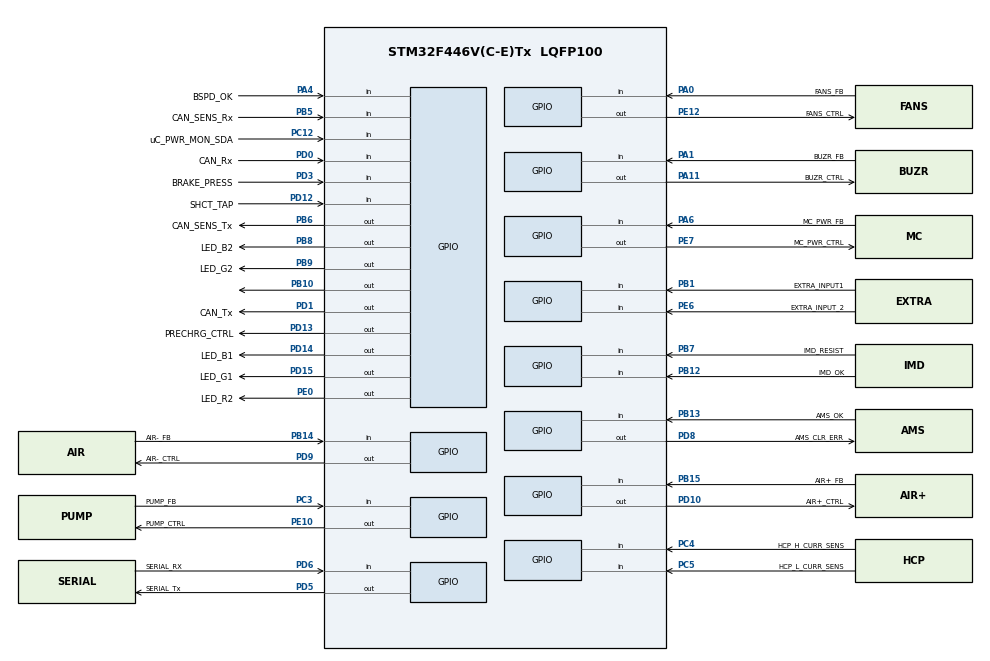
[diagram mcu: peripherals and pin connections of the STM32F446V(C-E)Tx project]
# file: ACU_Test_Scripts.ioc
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Mcu.Family=STM32F4
Mcu.Name=STM32F446V(C-E)Tx
Mcu.Package=LQFP100
NVIC.PriorityGroup=NVIC_PRIORITYGROUP_4
PA0-WKUP.GPIO_Label=FANS_FB
PA0-WKUP.Signal=GPIO_Input
PA1.GPIO_Label=BUZR_FB
PA1.Signal=GPIO_Input
PA11.GPIO_Label=BUZR_CTRL
PA11.Signal=GPIO_Output
PA13.GPIO_Label=UC_SWIDO
PA13.Mode=Serial_Wire
PA13.Signal=SYS_JTMS-SWDIO
PA14.GPIO_Label=UC_SWLCK
PA14.Mode=Serial_Wire
PA14.Signal=SYS_JTCK-SWCLK
PA4.GPIO_Label=BSPD_OK
PA4.Signal=GPIO_Input
PA6.GPIO_Label=MC_PWR_FB
PA6.Signal=GPIO_Input
PB1.GPIO_Label=EXTRA_INPUT1
PB1.Signal=GPIO_Input
PB10.Signal=GPIO_Output
PB12.GPIO_Label=IMD_OK
PB12.Signal=GPIO_Input
PB13.GPIO_Label=AMS_OK
PB13.Signal=GPIO_Input
PB14.GPIO_Label=AIR-_FB
PB14.Signal=GPIO_Input
PB15.GPIO_Label=AIR+_FB
PB15.Signal=GPIO_Input
PB3.GPIO_Label=UC_SWO
PB3.Signal=SYS_JTDO-SWO
PB5.GPIO_Label=CAN_SENS_Rx
PB5.Signal=GPIO_Input
PB6.GPIO_Label=CAN_SENS_Tx
PB6.Signal=GPIO_Output
PB7.GPIO_Label=IMD_RESIST
PB7.Signal=GPIO_Input
PB8.GPIO_Label=LED_B2
PB8.Signal=GPIO_Output
PB9.GPIO_Label=LED_G2
PB9.Signal=GPIO_Output
PC12.GPIO_Label=uC_PWR_MON_SDA
PC12.Signal=GPIO_Input
PC14-OSC32_IN.GPIO_Label=OSC1_IN
PC14-OSC32_IN.Signal=RCC_OSC32_IN
PC3.GPIO_Label=PUMP_FB
PC3.Signal=GPIO_Input
PC4.GPIO_Label=HCP_H_CURR_SENS
PC4.Signal=GPIO_Input
PC5.GPIO_Label=HCP_L_CURR_SENS
PC5.Signal=GPIO_Input
PD0.GPIO_Label=CAN_Rx
PD0.Signal=GPIO_Input
PD1.GPIO_Label=CAN_Tx
PD1.Signal=GPIO_Output
PD10.GPIO_Label=AIR+_CTRL
PD10.Signal=GPIO_Output
PD12.GPIO_Label=SHCT_TAP
PD12.Signal=GPIO_Input
PD13.GPIO_Label=PRECHRG_CTRL
PD13.Signal=GPIO_Output
PD14.GPIO_Label=LED_B1
PD14.Signal=GPIO_Output
PD15.GPIO_Label=LED_G1
PD15.Signal=GPIO_Output
PD3.GPIO_Label=BRAKE_PRESS
PD3.Signal=GPIO_Input
PD5.GPIO_Label=SERIAL_Tx
PD5.Signal=GPIO_Output
PD6.GPIO_Label=SERIAL_RX
PD6.Signal=GPIO_Input
PD8.GPIO_Label=AMS_CLR_ERR
PD8.Signal=GPIO_Output
PD9.GPIO_Label=AIR-_CTRL
PD9.Signal=GPIO_Output
PE0.GPIO_Label=LED_R2
PE0.Signal=GPIO_Output
PE10.GPIO_Label=PUMP_CTRL
PE10.Signal=GPIO_Output
PE12.GPIO_Label=FANS_CTRL
PE12.Signal=GPIO_Output
PE6.GPIO_Label=EXTRA_INPUT_2
PE6.Signal=GPIO_Input
PE7.GPIO_Label=MC_PWR_CTRL
PE7.Signal=GPIO_Output
PH0-OSC_IN.GPIO_Label=OSC2_IN
PH0-OSC_IN.Signal=RCC_OSC_IN
PH1-OSC_OUT.GPIO_Label=OSC2_OUT
PH1-OSC_OUT.Signal=RCC_OSC_OUT
ProjectManager.HeapSize=0x200
ProjectManager.StackSize=0x400
ProjectManager.TargetToolchain=STM32CubeIDE
RCC.CortexFreq_Value=16000000
RCC.USBFreq_Value=96000000
RCC.VCOOutputFreq_Value=192000000
board=custom

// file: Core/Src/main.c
/* USER CODE BEGIN Header */
/**
  ******************************************************************************
  * @file           : main.c
  * @brief          : Main program body
  ******************************************************************************
  * @attention
  *
  * Copyright (c) 2025 STMicroelectronics.
  * All rights reserved.
  *
  * This software is licensed under terms that can be found in the LICENSE file
  * in the root directory of this software component.
  * If no LICENSE file comes with this software, it is provided AS-IS.
  *
  ******************************************************************************
  */
/* USER CODE END Header */
#include "main.h"

void SystemClock_Config(void);
static void MX_GPIO_Init(void);

int main(void)
{

  /* MCU Configuration--------------------------------------------------------*/

  /* Reset of all peripherals, Initializes the Flash interface and the Systick. */
  HAL_Init();

  /* Configure the system clock */
  SystemClock_Config();

  /* Initialize all configured peripherals */
  MX_GPIO_Init();

  /* Infinite loop */
  while (1)
  {

    /* USER CODE BEGIN 3 */
	  /**
		*  _____ _____ _____ ____    _______        _
		* / ____|  __ \_   _/ __ \  |__   __|      | |
		*| |  __| |__) || || |  | |    | | ___  ___| |_
		*| | |_ |  ___/ | || |  | |    | |/ _ \/ __| __|
		*| |__| | |    _| || |__| |    | |  __/\__ \ |_
		* \_____|_|   |_____\____/     |_|\___||___/\__|
		*
	   */
	  HAL_GPIO_WritePin(EXTRA_INPUT_2_GPIO_Port, EXTRA_INPUT_2_Pin, GPIO_PIN_SET);
	  HAL_GPIO_WritePin(OSC1_IN_GPIO_Port, OSC1_IN_Pin, GPIO_PIN_SET);
	  HAL_GPIO_WritePin(OSC2_IN_GPIO_Port, OSC2_IN_Pin, GPIO_PIN_SET);
	  HAL_GPIO_WritePin(OSC2_OUT_GPIO_Port, OSC2_OUT_Pin, GPIO_PIN_SET);
	  HAL_GPIO_WritePin(PUMP_FB_GPIO_Port, PUMP_FB_Pin, GPIO_PIN_SET);
	  HAL_GPIO_WritePin(FANS_FB_GPIO_Port, FANS_FB_Pin, GPIO_PIN_SET);
	  HAL_GPIO_WritePin(BUZR_FB_GPIO_Port, BUZR_FB_Pin, GPIO_PIN_SET);
	  HAL_GPIO_WritePin(BSPD_OK_GPIO_Port, BSPD_OK_Pin, GPIO_PIN_SET);
	  HAL_GPIO_WritePin(MC_PWR_FB_GPIO_Port, MC_PWR_FB_Pin, GPIO_PIN_SET);
	  HAL_GPIO_WritePin(HCP_H_CURR_SENS_GPIO_Port, HCP_H_CURR_SENS_Pin, GPIO_PIN_SET);
	  HAL_GPIO_WritePin(HCP_L_CURR_SENS_GPIO_Port, HCP_L_CURR_SENS_Pin, GPIO_PIN_SET);
	  HAL_GPIO_WritePin(EXTRA_INPUT1_GPIO_Port, EXTRA_INPUT1_Pin, GPIO_PIN_SET);
	  HAL_GPIO_WritePin(MC_PWR_CTRL_GPIO_Port, MC_PWR_CTRL_Pin, GPIO_PIN_SET);
	  HAL_GPIO_WritePin(PUMP_CTRL_GPIO_Port, PUMP_CTRL_Pin, GPIO_PIN_SET);
	  HAL_GPIO_WritePin(FANS_CTRL_GPIO_Port, FANS_CTRL_Pin, GPIO_PIN_SET);
	  HAL_GPIO_WritePin(IMD_OK_GPIO_Port, IMD_OK_Pin, GPIO_PIN_SET);
	  HAL_GPIO_WritePin(AMS_OK_GPIO_Port, AMS_OK_Pin, GPIO_PIN_SET);
	  HAL_GPIO_WritePin(AIR__FB_GPIO_Port, AIR__FB_Pin, GPIO_PIN_SET);
	  HAL_GPIO_WritePin(AIR__FBB15_GPIO_Port, AIR__FBB15_Pin, GPIO_PIN_SET);
	  HAL_GPIO_WritePin(AMS_CLR_ERR_GPIO_Port, AMS_CLR_ERR_Pin, GPIO_PIN_SET);
	  HAL_GPIO_WritePin(AIR__CTRL_GPIO_Port, AIR__CTRL_Pin, GPIO_PIN_SET);
	  HAL_GPIO_WritePin(AIR__CTRLD10_GPIO_Port, AIR__CTRLD10_Pin, GPIO_PIN_SET);
	  HAL_GPIO_WritePin(SHCT_TAP_GPIO_Port, SHCT_TAP_Pin, GPIO_PIN_SET);
	  HAL_GPIO_WritePin(PRECHRG_CTRL_GPIO_Port, PRECHRG_CTRL_Pin, GPIO_PIN_SET);
	  HAL_GPIO_WritePin(LED_B1_GPIO_Port, LED_B1_Pin, GPIO_PIN_SET);
	  HAL_GPIO_WritePin(LED_G1_GPIO_Port, LED_G1_Pin, GPIO_PIN_SET);
	  HAL_GPIO_WritePin(BUZR_CTRL_GPIO_Port, BUZR_CTRL_Pin, GPIO_PIN_SET);
	  HAL_GPIO_WritePin(UC_SWIDO_GPIO_Port, UC_SWIDO_Pin, GPIO_PIN_SET);
	  HAL_GPIO_WritePin(UC_SWLCK_GPIO_Port, UC_SWLCK_Pin, GPIO_PIN_SET);
	  HAL_GPIO_WritePin(uC_PWR_MON_SDA_GPIO_Port, uC_PWR_MON_SDA_Pin, GPIO_PIN_SET);
	  HAL_GPIO_WritePin(CAN_Rx_GPIO_Port, CAN_Rx_Pin, GPIO_PIN_SET);
	  HAL_GPIO_WritePin(CAN_Tx_GPIO_Port, CAN_Tx_Pin, GPIO_PIN_SET);
	  HAL_GPIO_WritePin(BRAKE_PRESS_GPIO_Port, BRAKE_PRESS_Pin, GPIO_PIN_SET);
	  HAL_GPIO_WritePin(SERIAL_Tx_GPIO_Port, SERIAL_Tx_Pin, GPIO_PIN_SET);
	  HAL_GPIO_WritePin(SERIAL_RX_GPIO_Port, SERIAL_RX_Pin, GPIO_PIN_SET);
	  HAL_GPIO_WritePin(UC_SWO_GPIO_Port, UC_SWO_Pin, GPIO_PIN_SET);
	  HAL_GPIO_WritePin(CAN_SENS_Rx_GPIO_Port, CAN_SENS_Rx_Pin, GPIO_PIN_SET);
	  HAL_GPIO_WritePin(CAN_SENS_Tx_GPIO_Port, CAN_SENS_Tx_Pin, GPIO_PIN_SET);
	  HAL_GPIO_WritePin(IMD_RESIST_GPIO_Port, IMD_RESIST_Pin, GPIO_PIN_SET);
	  HAL_GPIO_WritePin(LED_B2_GPIO_Port, LED_B2_Pin, GPIO_PIN_SET);
	  HAL_GPIO_WritePin(LED_G2_GPIO_Port, LED_G2_Pin, GPIO_PIN_SET);
	  HAL_GPIO_WritePin(LED_R2_GPIO_Port, LED_R2_Pin, GPIO_PIN_SET);

	  HAL_Delay(500);

	  HAL_GPIO_WritePin(EXTRA_INPUT_2_GPIO_Port, EXTRA_INPUT_2_Pin, GPIO_PIN_RESET);
	  HAL_GPIO_WritePin(OSC1_IN_GPIO_Port, OSC1_IN_Pin, GPIO_PIN_RESET);
	  HAL_GPIO_WritePin(OSC2_IN_GPIO_Port, OSC2_IN_Pin, GPIO_PIN_RESET);
	  HAL_GPIO_WritePin(OSC2_OUT_GPIO_Port, OSC2_OUT_Pin, GPIO_PIN_RESET);
	  HAL_GPIO_WritePin(PUMP_FB_GPIO_Port, PUMP_FB_Pin, GPIO_PIN_RESET);
	  HAL_GPIO_WritePin(FANS_FB_GPIO_Port, FANS_FB_Pin, GPIO_PIN_RESET);
	  HAL_GPIO_WritePin(BUZR_FB_GPIO_Port, BUZR_FB_Pin, GPIO_PIN_RESET);
	  HAL_GPIO_WritePin(BSPD_OK_GPIO_Port, BSPD_OK_Pin, GPIO_PIN_RESET);
	  HAL_GPIO_WritePin(MC_PWR_FB_GPIO_Port, MC_PWR_FB_Pin, GPIO_PIN_RESET);
	  HAL_GPIO_WritePin(HCP_H_CURR_SENS_GPIO_Port, HCP_H_CURR_SENS_Pin, GPIO_PIN_RESET);
	  HAL_GPIO_WritePin(HCP_L_CURR_SENS_GPIO_Port, HCP_L_CURR_SENS_Pin, GPIO_PIN_RESET);
	  HAL_GPIO_WritePin(EXTRA_INPUT1_GPIO_Port, EXTRA_INPUT1_Pin, GPIO_PIN_RESET);
	  HAL_GPIO_WritePin(MC_PWR_CTRL_GPIO_Port, MC_PWR_CTRL_Pin, GPIO_PIN_RESET);
	  HAL_GPIO_WritePin(PUMP_CTRL_GPIO_Port, PUMP_CTRL_Pin, GPIO_PIN_RESET);
	  HAL_GPIO_WritePin(FANS_CTRL_GPIO_Port, FANS_CTRL_Pin, GPIO_PIN_RESET);
	  HAL_GPIO_WritePin(IMD_OK_GPIO_Port, IMD_OK_Pin, GPIO_PIN_RESET);
	  HAL_GPIO_WritePin(AMS_OK_GPIO_Port, AMS_OK_Pin, GPIO_PIN_RESET);
	  HAL_GPIO_WritePin(AIR__FB_GPIO_Port, AIR__FB_Pin, GPIO_PIN_RESET);
	  HAL_GPIO_WritePin(AIR__FBB15_GPIO_Port, AIR__FBB15_Pin, GPIO_PIN_RESET);
	  HAL_GPIO_WritePin(AMS_CLR_ERR_GPIO_Port, AMS_CLR_ERR_Pin, GPIO_PIN_RESET);
	  HAL_GPIO_WritePin(AIR__CTRL_GPIO_Port, AIR__CTRL_Pin, GPIO_PIN_RESET);
	  HAL_GPIO_WritePin(AIR__CTRLD10_GPIO_Port, AIR__CTRLD10_Pin, GPIO_PIN_RESET);
	  HAL_GPIO_WritePin(SHCT_TAP_GPIO_Port, SHCT_TAP_Pin, GPIO_PIN_RESET);
	  HAL_GPIO_WritePin(PRECHRG_CTRL_GPIO_Port, PRECHRG_CTRL_Pin, GPIO_PIN_RESET);
	  HAL_GPIO_WritePin(LED_B1_GPIO_Port, LED_B1_Pin, GPIO_PIN_RESET);
	  HAL_GPIO_WritePin(LED_G1_GPIO_Port, LED_G1_Pin, GPIO_PIN_RESET);
	  HAL_GPIO_WritePin(BUZR_CTRL_GPIO_Port, BUZR_CTRL_Pin, GPIO_PIN_RESET);
	  HAL_GPIO_WritePin(UC_SWIDO_GPIO_Port, UC_SWIDO_Pin, GPIO_PIN_RESET);
	  HAL_GPIO_WritePin(UC_SWLCK_GPIO_Port, UC_SWLCK_Pin, GPIO_PIN_RESET);
	  HAL_GPIO_WritePin(uC_PWR_MON_SDA_GPIO_Port, uC_PWR_MON_SDA_Pin, GPIO_PIN_RESET);
	  HAL_GPIO_WritePin(CAN_Rx_GPIO_Port, CAN_Rx_Pin, GPIO_PIN_RESET);
	  HAL_GPIO_WritePin(CAN_Tx_GPIO_Port, CAN_Tx_Pin, GPIO_PIN_RESET);
	  HAL_GPIO_WritePin(BRAKE_PRESS_GPIO_Port, BRAKE_PRESS_Pin, GPIO_PIN_RESET);
	  HAL_GPIO_WritePin(SERIAL_Tx_GPIO_Port, SERIAL_Tx_Pin, GPIO_PIN_RESET);
	  HAL_GPIO_WritePin(SERIAL_RX_GPIO_Port, SERIAL_RX_Pin, GPIO_PIN_RESET);
	  HAL_GPIO_WritePin(UC_SWO_GPIO_Port, UC_SWO_Pin, GPIO_PIN_RESET);
	  HAL_GPIO_WritePin(CAN_SENS_Rx_GPIO_Port, CAN_SENS_Rx_Pin, GPIO_PIN_RESET);
	  HAL_GPIO_WritePin(CAN_SENS_Tx_GPIO_Port, CAN_SENS_Tx_Pin, GPIO_PIN_RESET);
	  HAL_GPIO_WritePin(IMD_RESIST_GPIO_Port, IMD_RESIST_Pin, GPIO_PIN_RESET);
	  HAL_GPIO_WritePin(LED_B2_GPIO_Port, LED_B2_Pin, GPIO_PIN_RESET);
	  HAL_GPIO_WritePin(LED_G2_GPIO_Port, LED_G2_Pin, GPIO_PIN_RESET);
	  HAL_GPIO_WritePin(LED_R2_GPIO_Port, LED_R2_Pin, GPIO_PIN_RESET);
	/**
	*
	*     _____                   _     _            _
	*	 |_   _|                 | |   | |          | |
	*	   | |  _ __  _ __  _   _| |_  | |_ ___  ___| |_
	*	   | | | '_ \| '_ \| | | | __| | __/ _ \/ __| __|
	*	  _| |_| | | | |_) | |_| | |_  | ||  __/\__ \ |_
	*	 |_____|_| |_| .__/ \__,_|\__|  \__\___||___/\__|
	*			 	 | |
	*			     |_|
	*
	*/
	  if(HAL_GPIO_ReadPin(AIR__FB_GPIO_Port, AIR__FB_Pin)){
		  HAL_GPIO_WritePin(LED_B1_GPIO_Port, LED_B1_Pin, GPIO_PIN_SET);
		  HAL_GPIO_WritePin(LED_G1_GPIO_Port, LED_G1_Pin, GPIO_PIN_SET);
	  }
	  HAL_GPIO_WritePin(LED_B1_GPIO_Port, LED_B1_Pin, GPIO_PIN_RESET);
	  HAL_GPIO_WritePin(LED_G1_GPIO_Port, LED_G1_Pin, GPIO_PIN_RESET);

	  if(HAL_GPIO_ReadPin(AIR__FBB15_GPIO_Port, AIR__FBB15_Pin)){
		  HAL_GPIO_WritePin(LED_B1_GPIO_Port, LED_B1_Pin, GPIO_PIN_SET);
		  HAL_GPIO_WritePin(LED_G1_GPIO_Port, LED_G1_Pin, GPIO_PIN_SET);
	  }
	  HAL_GPIO_WritePin(LED_B1_GPIO_Port, LED_B1_Pin, GPIO_PIN_RESET);
	  HAL_GPIO_WritePin(LED_G1_GPIO_Port, LED_G1_Pin, GPIO_PIN_RESET);

	  if(HAL_GPIO_ReadPin(FANS_FB_GPIO_Port, FANS_FB_Pin)){
		  HAL_GPIO_WritePin(LED_B1_GPIO_Port, LED_B1_Pin, GPIO_PIN_SET);
		  HAL_GPIO_WritePin(LED_G1_GPIO_Port, LED_G1_Pin, GPIO_PIN_SET);
	  }
	  HAL_GPIO_WritePin(LED_B1_GPIO_Port, LED_B1_Pin, GPIO_PIN_RESET);
	  HAL_GPIO_WritePin(LED_G1_GPIO_Port, LED_G1_Pin, GPIO_PIN_RESET);

	  if(HAL_GPIO_ReadPin(PUMP_FB_GPIO_Port, PUMP_FB_Pin)){
		  HAL_GPIO_WritePin(LED_B1_GPIO_Port, LED_B1_Pin, GPIO_PIN_SET);
		  HAL_GPIO_WritePin(LED_G1_GPIO_Port, LED_G1_Pin, GPIO_PIN_SET);
	  }
	  HAL_GPIO_WritePin(LED_B1_GPIO_Port, LED_B1_Pin, GPIO_PIN_RESET);
	  HAL_GPIO_WritePin(LED_G1_GPIO_Port, LED_G1_Pin, GPIO_PIN_RESET);

	  if(HAL_GPIO_ReadPin(BUZR_FB_GPIO_Port, BUZR_FB_Pin)){
		  HAL_GPIO_WritePin(LED_B1_GPIO_Port, LED_B1_Pin, GPIO_PIN_SET);
		  HAL_GPIO_WritePin(LED_G1_GPIO_Port, LED_G1_Pin, GPIO_PIN_SET);
	  }
	  HAL_GPIO_WritePin(LED_B1_GPIO_Port, LED_B1_Pin, GPIO_PIN_RESET);
	  HAL_GPIO_WritePin(LED_G1_GPIO_Port, LED_G1_Pin, GPIO_PIN_RESET);

	  if(HAL_GPIO_ReadPin(MC_PWR_FB_GPIO_Port, MC_PWR_FB_Pin)){
		  HAL_GPIO_WritePin(LED_B1_GPIO_Port, LED_B1_Pin, GPIO_PIN_SET);
		  HAL_GPIO_WritePin(LED_G1_GPIO_Port, LED_G1_Pin, GPIO_PIN_SET);
	  }
	  HAL_GPIO_WritePin(LED_B1_GPIO_Port, LED_B1_Pin, GPIO_PIN_RESET);
	  HAL_GPIO_WritePin(LED_G1_GPIO_Port, LED_G1_Pin, GPIO_PIN_RESET);

	  if(HAL_GPIO_ReadPin(HCP_H_CURR_SENS_GPIO_Port, HCP_H_CURR_SENS_Pin)){
		  HAL_GPIO_WritePin(LED_B1_GPIO_Port, LED_B1_Pin, GPIO_PIN_SET);
		  HAL_GPIO_WritePin(LED_G1_GPIO_Port, LED_G1_Pin, GPIO_PIN_SET);
	  }
	  HAL_GPIO_WritePin(LED_B1_GPIO_Port, LED_B1_Pin, GPIO_PIN_RESET);
	  HAL_GPIO_WritePin(LED_G1_GPIO_Port, LED_G1_Pin, GPIO_PIN_RESET);

	  if(HAL_GPIO_ReadPin(HCP_L_CURR_SENS_GPIO_Port, HCP_L_CURR_SENS_Pin)){
		  HAL_GPIO_WritePin(LED_B1_GPIO_Port, LED_B1_Pin, GPIO_PIN_SET);
		  HAL_GPIO_WritePin(LED_G1_GPIO_Port, LED_G1_Pin, GPIO_PIN_SET);
	  }
	  HAL_GPIO_WritePin(LED_B1_GPIO_Port, LED_B1_Pin, GPIO_PIN_RESET);
	  HAL_GPIO_WritePin(LED_G1_GPIO_Port, LED_G1_Pin, GPIO_PIN_RESET);

	  if(HAL_GPIO_ReadPin(EXTRA_INPUT_2_GPIO_Port, EXTRA_INPUT_2_Pin)){
		  HAL_GPIO_WritePin(LED_B1_GPIO_Port, LED_B1_Pin, GPIO_PIN_SET);
		  HAL_GPIO_WritePin(LED_G1_GPIO_Port, LED_G1_Pin, GPIO_PIN_SET);
	  }
	  HAL_GPIO_WritePin(LED_B1_GPIO_Port, LED_B1_Pin, GPIO_PIN_RESET);
	  HAL_GPIO_WritePin(LED_G1_GPIO_Port, LED_G1_Pin, GPIO_PIN_RESET);

	  if(HAL_GPIO_ReadPin(EXTRA_INPUT1_GPIO_Port, EXTRA_INPUT1_Pin)){
		  HAL_GPIO_WritePin(LED_B1_GPIO_Port, LED_B1_Pin, GPIO_PIN_SET);
		  HAL_GPIO_WritePin(LED_G1_GPIO_Port, LED_G1_Pin, GPIO_PIN_SET);
	  }
	  HAL_GPIO_WritePin(LED_B1_GPIO_Port, LED_B1_Pin, GPIO_PIN_RESET);
	  HAL_GPIO_WritePin(LED_G1_GPIO_Port, LED_G1_Pin, GPIO_PIN_RESET);

	  if(HAL_GPIO_ReadPin(IMD_RESIST_GPIO_Port, IMD_RESIST_Pin)){
		  HAL_GPIO_WritePin(LED_B1_GPIO_Port, LED_B1_Pin, GPIO_PIN_SET);
		  HAL_GPIO_WritePin(LED_G1_GPIO_Port, LED_G1_Pin, GPIO_PIN_SET);
	  }
	  HAL_GPIO_WritePin(LED_B1_GPIO_Port, LED_B1_Pin, GPIO_PIN_RESET);
	  HAL_GPIO_WritePin(LED_G1_GPIO_Port, LED_G1_Pin, GPIO_PIN_RESET);

	  if(HAL_GPIO_ReadPin(IMD_OK_GPIO_Port, IMD_OK_Pin)){
		  HAL_GPIO_WritePin(LED_B1_GPIO_Port, LED_B1_Pin, GPIO_PIN_SET);
		  HAL_GPIO_WritePin(LED_G1_GPIO_Port, LED_G1_Pin, GPIO_PIN_SET);
	  }
	  HAL_GPIO_WritePin(LED_B1_GPIO_Port, LED_B1_Pin, GPIO_PIN_RESET);
	  HAL_GPIO_WritePin(LED_G1_GPIO_Port, LED_G1_Pin, GPIO_PIN_RESET);

	  if(HAL_GPIO_ReadPin(AMS_OK_GPIO_Port, AMS_OK_Pin)){
		  HAL_GPIO_WritePin(LED_B1_GPIO_Port, LED_B1_Pin, GPIO_PIN_SET);
		  HAL_GPIO_WritePin(LED_G1_GPIO_Port, LED_G1_Pin, GPIO_PIN_SET);
	  }
	  HAL_GPIO_WritePin(LED_B1_GPIO_Port, LED_B1_Pin, GPIO_PIN_RESET);
	  HAL_GPIO_WritePin(LED_G1_GPIO_Port, LED_G1_Pin, GPIO_PIN_RESET);

	  if(HAL_GPIO_ReadPin(BRAKE_PRESS_GPIO_Port, BRAKE_PRESS_Pin)){
		  HAL_GPIO_WritePin(LED_B1_GPIO_Port, LED_B1_Pin, GPIO_PIN_SET);
		  HAL_GPIO_WritePin(LED_G1_GPIO_Port, LED_G1_Pin, GPIO_PIN_SET);
	  }
	  HAL_GPIO_WritePin(LED_B1_GPIO_Port, LED_B1_Pin, GPIO_PIN_RESET);
	  HAL_GPIO_WritePin(LED_G1_GPIO_Port, LED_G1_Pin, GPIO_PIN_RESET);

	  if(HAL_GPIO_ReadPin(SHCT_TAP_GPIO_Port, SHCT_TAP_Pin)){
		  HAL_GPIO_WritePin(LED_B1_GPIO_Port, LED_B1_Pin, GPIO_PIN_SET);
		  HAL_GPIO_WritePin(LED_G1_GPIO_Port, LED_G1_Pin, GPIO_PIN_SET);
	  }
	  HAL_GPIO_WritePin(LED_B1_GPIO_Port, LED_B1_Pin, GPIO_PIN_RESET);
	  HAL_GPIO_WritePin(LED_G1_GPIO_Port, LED_G1_Pin, GPIO_PIN_RESET);

  }
  /* USER CODE END 3 */
}

void SystemClock_Config(void)
{
  RCC_OscInitTypeDef RCC_OscInitStruct = {0};
  RCC_ClkInitTypeDef RCC_ClkInitStruct = {0};

  /** Configure the main internal regulator output voltage
  */
  __HAL_RCC_PWR_CLK_ENABLE();
  __HAL_PWR_VOLTAGESCALING_CONFIG(PWR_REGULATOR_VOLTAGE_SCALE3);

  /** Initializes the RCC Oscillators according to the specified parameters
  * in the RCC_OscInitTypeDef structure.
  */
  RCC_OscInitStruct.OscillatorType = RCC_OSCILLATORTYPE_HSI;
  RCC_OscInitStruct.HSIState = RCC_HSI_ON;
  RCC_OscInitStruct.HSICalibrationValue = RCC_HSICALIBRATION_DEFAULT;
  RCC_OscInitStruct.PLL.PLLState = RCC_PLL_NONE;
  if (HAL_RCC_OscConfig(&RCC_OscInitStruct) != HAL_OK)
  {
    Error_Handler();
  }

  /** Initializes the CPU, AHB and APB buses clocks
  */
  RCC_ClkInitStruct.ClockType = RCC_CLOCKTYPE_HCLK|RCC_CLOCKTYPE_SYSCLK
                              |RCC_CLOCKTYPE_PCLK1|RCC_CLOCKTYPE_PCLK2;
  RCC_ClkInitStruct.SYSCLKSource = RCC_SYSCLKSOURCE_HSI;
  RCC_ClkInitStruct.AHBCLKDivider = RCC_SYSCLK_DIV1;
  RCC_ClkInitStruct.APB1CLKDivider = RCC_HCLK_DIV1;
  RCC_ClkInitStruct.APB2CLKDivider = RCC_HCLK_DIV1;

  if (HAL_RCC_ClockConfig(&RCC_ClkInitStruct, FLASH_LATENCY_0) != HAL_OK)
  {
    Error_Handler();
  }
}

static void MX_GPIO_Init(void)
{
  GPIO_InitTypeDef GPIO_InitStruct = {0};

  /* GPIO Ports Clock Enable */
  __HAL_RCC_GPIOE_CLK_ENABLE();
  __HAL_RCC_GPIOC_CLK_ENABLE();
  __HAL_RCC_GPIOH_CLK_ENABLE();
  __HAL_RCC_GPIOA_CLK_ENABLE();
  __HAL_RCC_GPIOB_CLK_ENABLE();
  __HAL_RCC_GPIOD_CLK_ENABLE();

  /*Configure GPIO pin Output Level */
  HAL_GPIO_WritePin(GPIOE, MC_PWR_CTRL_Pin|PUMP_CTRL_Pin|FANS_CTRL_Pin|LED_R2_Pin, GPIO_PIN_RESET);

  /*Configure GPIO pin Output Level */
  HAL_GPIO_WritePin(GPIOB, GPIO_PIN_10|CAN_SENS_Tx_Pin|LED_B2_Pin|LED_G2_Pin, GPIO_PIN_RESET);

  /*Configure GPIO pin Output Level */
  HAL_GPIO_WritePin(GPIOD, AMS_CLR_ERR_Pin|AIR__CTRL_Pin|AIR__CTRLD10_Pin|PRECHRG_CTRL_Pin
                          |LED_B1_Pin|LED_G1_Pin|CAN_Tx_Pin|SERIAL_Tx_Pin, GPIO_PIN_RESET);

  /*Configure GPIO pin Output Level */
  HAL_GPIO_WritePin(BUZR_CTRL_GPIO_Port, BUZR_CTRL_Pin, GPIO_PIN_RESET);

  /*Configure GPIO pin : EXTRA_INPUT_2_Pin */
  GPIO_InitStruct.Pin = EXTRA_INPUT_2_Pin;
  GPIO_InitStruct.Mode = GPIO_MODE_INPUT;
  GPIO_InitStruct.Pull = GPIO_NOPULL;
  HAL_GPIO_Init(EXTRA_INPUT_2_GPIO_Port, &GPIO_InitStruct);

  /*Configure GPIO pins : PUMP_FB_Pin HCP_H_CURR_SENS_Pin HCP_L_CURR_SENS_Pin uC_PWR_MON_SDA_Pin */
  GPIO_InitStruct.Pin = PUMP_FB_Pin|HCP_H_CURR_SENS_Pin|HCP_L_CURR_SENS_Pin|uC_PWR_MON_SDA_Pin;
  GPIO_InitStruct.Mode = GPIO_MODE_INPUT;
  GPIO_InitStruct.Pull = GPIO_NOPULL;
  HAL_GPIO_Init(GPIOC, &GPIO_InitStruct);

  /*Configure GPIO pins : FANS_FB_Pin BUZR_FB_Pin BSPD_OK_Pin MC_PWR_FB_Pin */
  GPIO_InitStruct.Pin = FANS_FB_Pin|BUZR_FB_Pin|BSPD_OK_Pin|MC_PWR_FB_Pin;
  GPIO_InitStruct.Mode = GPIO_MODE_INPUT;
  GPIO_InitStruct.Pull = GPIO_NOPULL;
  HAL_GPIO_Init(GPIOA, &GPIO_InitStruct);

  /*Configure GPIO pins : EXTRA_INPUT1_Pin IMD_OK_Pin AMS_OK_Pin AIR__FB_Pin
                           AIR__FBB15_Pin CAN_SENS_Rx_Pin IMD_RESIST_Pin */
  GPIO_InitStruct.Pin = EXTRA_INPUT1_Pin|IMD_OK_Pin|AMS_OK_Pin|AIR__FB_Pin
                          |AIR__FBB15_Pin|CAN_SENS_Rx_Pin|IMD_RESIST_Pin;
  GPIO_InitStruct.Mode = GPIO_MODE_INPUT;
  GPIO_InitStruct.Pull = GPIO_NOPULL;
  HAL_GPIO_Init(GPIOB, &GPIO_InitStruct);

  /*Configure GPIO pins : MC_PWR_CTRL_Pin PUMP_CTRL_Pin FANS_CTRL_Pin LED_R2_Pin */
  GPIO_InitStruct.Pin = MC_PWR_CTRL_Pin|PUMP_CTRL_Pin|FANS_CTRL_Pin|LED_R2_Pin;
  GPIO_InitStruct.Mode = GPIO_MODE_OUTPUT_PP;
  GPIO_InitStruct.Pull = GPIO_NOPULL;
  GPIO_InitStruct.Speed = GPIO_SPEED_FREQ_LOW;
  HAL_GPIO_Init(GPIOE, &GPIO_InitStruct);

  /*Configure GPIO pins : PB10 CAN_SENS_Tx_Pin LED_B2_Pin LED_G2_Pin */
  GPIO_InitStruct.Pin = GPIO_PIN_10|CAN_SENS_Tx_Pin|LED_B2_Pin|LED_G2_Pin;
  GPIO_InitStruct.Mode = GPIO_MODE_OUTPUT_PP;
  GPIO_InitStruct.Pull = GPIO_NOPULL;
  GPIO_InitStruct.Speed = GPIO_SPEED_FREQ_LOW;
  HAL_GPIO_Init(GPIOB, &GPIO_InitStruct);

  /*Configure GPIO pins : AMS_CLR_ERR_Pin AIR__CTRL_Pin AIR__CTRLD10_Pin PRECHRG_CTRL_Pin
                           LED_B1_Pin LED_G1_Pin CAN_Tx_Pin SERIAL_Tx_Pin */
  GPIO_InitStruct.Pin = AMS_CLR_ERR_Pin|AIR__CTRL_Pin|AIR__CTRLD10_Pin|PRECHRG_CTRL_Pin
                          |LED_B1_Pin|LED_G1_Pin|CAN_Tx_Pin|SERIAL_Tx_Pin;
  GPIO_InitStruct.Mode = GPIO_MODE_OUTPUT_PP;
  GPIO_InitStruct.Pull = GPIO_NOPULL;
  GPIO_InitStruct.Speed = GPIO_SPEED_FREQ_LOW;
  HAL_GPIO_Init(GPIOD, &GPIO_InitStruct);

  /*Configure GPIO pins : SHCT_TAP_Pin CAN_Rx_Pin BRAKE_PRESS_Pin SERIAL_RX_Pin */
  GPIO_InitStruct.Pin = SHCT_TAP_Pin|CAN_Rx_Pin|BRAKE_PRESS_Pin|SERIAL_RX_Pin;
  GPIO_InitStruct.Mode = GPIO_MODE_INPUT;
  GPIO_InitStruct.Pull = GPIO_NOPULL;
  HAL_GPIO_Init(GPIOD, &GPIO_InitStruct);

  /*Configure GPIO pin : BUZR_CTRL_Pin */
  GPIO_InitStruct.Pin = BUZR_CTRL_Pin;
  GPIO_InitStruct.Mode = GPIO_MODE_OUTPUT_PP;
  GPIO_InitStruct.Pull = GPIO_NOPULL;
  GPIO_InitStruct.Speed = GPIO_SPEED_FREQ_LOW;
  HAL_GPIO_Init(BUZR_CTRL_GPIO_Port, &GPIO_InitStruct);

}

void Error_Handler(void)
{
  __disable_irq();
  while (1)
  {
  }
}
